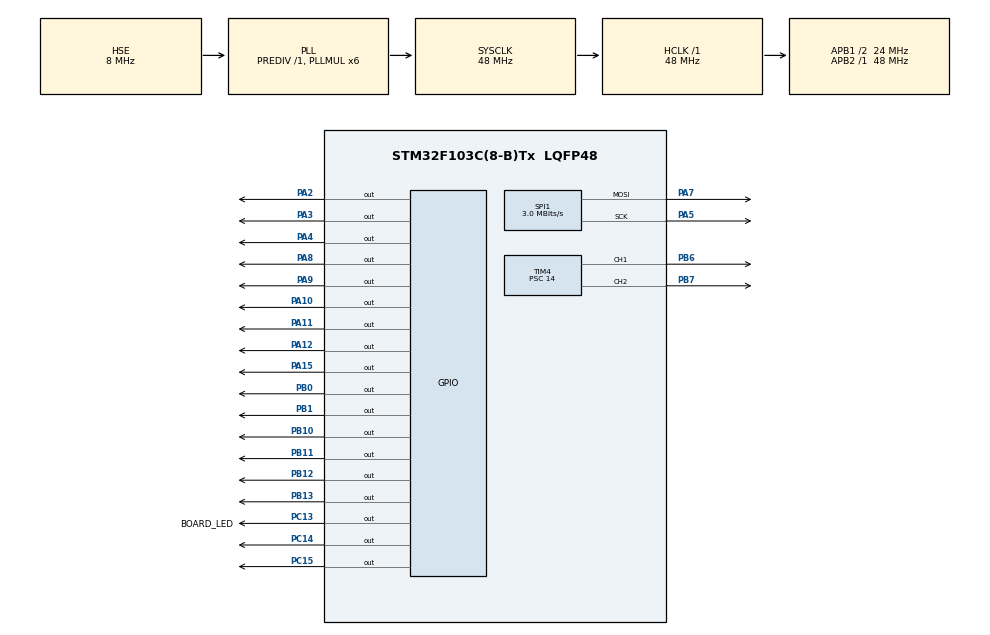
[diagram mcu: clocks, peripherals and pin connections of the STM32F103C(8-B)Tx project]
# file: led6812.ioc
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Dma.Request0=SPI1_TX
Dma.SPI1_TX.0.Direction=DMA_MEMORY_TO_PERIPH
Dma.SPI1_TX.0.Instance=DMA1_Channel3
Dma.SPI1_TX.0.MemDataAlignment=DMA_MDATAALIGN_BYTE
Dma.SPI1_TX.0.MemInc=DMA_MINC_ENABLE
Dma.SPI1_TX.0.Mode=DMA_NORMAL
Dma.SPI1_TX.0.PeriphDataAlignment=DMA_PDATAALIGN_BYTE
Dma.SPI1_TX.0.PeriphInc=DMA_PINC_DISABLE
Dma.SPI1_TX.0.Priority=DMA_PRIORITY_HIGH
FREERTOS.INCLUDE_uxTaskPriorityGet=0
FREERTOS.INCLUDE_vTaskDelayUntil=1
FREERTOS.INCLUDE_vTaskDelete=0
FREERTOS.INCLUDE_vTaskPrioritySet=0
FREERTOS.INCLUDE_vTaskSuspend=1
FREERTOS.MEMORY_ALLOCATION=1
FREERTOS.Tasks01=mainTask,3,256,StartMainTask,As weak,NULL,Static,defaultTaskBuffer,defaultTaskControlBlock;ctrlTask,3,128,StartCtrlTask,As external,NULL,Static,myTask02Buffer,myTask02ControlBlock
FREERTOS.configCHECK_FOR_STACK_OVERFLOW=0
FREERTOS.configENABLE_BACKWARD_COMPATIBILITY=0
FREERTOS.configGENERATE_RUN_TIME_STATS=1
FREERTOS.configIDLE_SHOULD_YIELD=0
FREERTOS.configMINIMAL_STACK_SIZE=128
FREERTOS.configRECORD_STACK_HIGH_ADDRESS=1
FREERTOS.configUSE_MUTEXES=0
FREERTOS.configUSE_NEWLIB_REENTRANT=1
FREERTOS.configUSE_PREEMPTION=1
FREERTOS.configUSE_STATS_FORMATTING_FUNCTIONS=1
FREERTOS.configUSE_TIMERS=0
FREERTOS.configUSE_TRACE_FACILITY=1
FREERTOS.copyHeapFile=0
Mcu.Family=STM32F1
Mcu.Name=STM32F103C(8-B)Tx
Mcu.Package=LQFP48
NVIC.DMA1_Channel3_IRQn=true\:5\:0\:false\:false\:true\:true\:false\:true\:true
NVIC.PriorityGroup=NVIC_PRIORITYGROUP_4
NVIC.TIM1_UP_IRQn=true\:15\:0\:false\:false\:true\:false\:false\:true\:true
NVIC.TimeBase=TIM1_UP_IRQn
NVIC.TimeBaseIP=TIM1
PA10.Signal=GPIO_Output
PA11.Signal=GPIO_Output
PA12.Signal=GPIO_Output
PA13.Mode=Trace_Asynchronous_SW
PA13.Signal=SYS_JTMS-SWDIO
PA14.Mode=Trace_Asynchronous_SW
PA14.Signal=SYS_JTCK-SWCLK
PA15.Signal=GPIO_Output
PA2.Signal=GPIO_Output
PA3.Signal=GPIO_Output
PA4.Signal=GPIO_Output
PA5.Mode=TX_Only_Simplex_Unidirect_Master
PA5.Signal=SPI1_SCK
PA7.Mode=TX_Only_Simplex_Unidirect_Master
PA7.Signal=SPI1_MOSI
PA8.Signal=GPIO_Output
PA9.Signal=GPIO_Output
PB0.Signal=GPIO_Output
PB1.Signal=GPIO_Output
PB10.Signal=GPIO_Output
PB11.Signal=GPIO_Output
PB12.Signal=GPIO_Output
PB13.Signal=GPIO_Output
PB3.Mode=Trace_Asynchronous_SW
PB3.Signal=SYS_JTDO-TRACESWO
PB6.Signal=S_TIM4_CH1
PB7.Signal=S_TIM4_CH2
PC13-TAMPER-RTC.GPIO_Label=BOARD_LED
PC13-TAMPER-RTC.Signal=GPIO_Output
PC14-OSC32_IN.Signal=GPIO_Output
PC15-OSC32_OUT.Signal=GPIO_Output
PD0-OSC_IN.Mode=HSE-External-Oscillator
PD0-OSC_IN.Signal=RCC_OSC_IN
PD1-OSC_OUT.Mode=HSE-External-Oscillator
PD1-OSC_OUT.Signal=RCC_OSC_OUT
ProjectManager.HeapSize=0x200
ProjectManager.StackSize=0x400
ProjectManager.TargetToolchain=STM32CubeIDE
RCC.AHBFreq_Value=48000000
RCC.APB1CLKDivider=RCC_HCLK_DIV2
RCC.APB1Freq_Value=24000000
RCC.APB1TimFreq_Value=48000000
RCC.APB2Freq_Value=48000000
RCC.APB2TimFreq_Value=48000000
RCC.HCLKFreq_Value=48000000
RCC.PLLMUL=RCC_PLL_MUL6
RCC.PLLSourceVirtual=RCC_PLLSOURCE_HSE
RCC.SYSCLKFreq_VALUE=48000000
RCC.SYSCLKSource=RCC_SYSCLKSOURCE_PLLCLK
RCC.USBFreq_Value=48000000
SH.S_TIM4_CH1.0=TIM4_CH1,PWM Generation1 CH1
SH.S_TIM4_CH2.0=TIM4_CH2,PWM Generation2 CH2
SPI1.BaudRatePrescaler=SPI_BAUDRATEPRESCALER_16
SPI1.CalculateBaudRate=3.0 MBits/s
SPI1.Direction=SPI_DIRECTION_2LINES
SPI1.Mode=SPI_MODE_MASTER
SPI1.VirtualType=VM_MASTER
TIM2.Channel-PWM\ Generation1\ No\ Output=TIM_CHANNEL_1
TIM3.Channel-PWM\ Generation1\ No\ Output=TIM_CHANNEL_1
TIM4.AutoReloadPreload=TIM_AUTORELOAD_PRELOAD_ENABLE
TIM4.Channel-PWM\ Generation1\ CH1=TIM_CHANNEL_1
TIM4.Channel-PWM\ Generation2\ CH2=TIM_CHANNEL_2
TIM4.Period=64000
TIM4.Prescaler=14
TIM4.Pulse-PWM\ Generation1\ CH1=5000
TIM4.Pulse-PWM\ Generation2\ CH2=5000
VP_FREERTOS_VS_CMSIS_V1.Mode=CMSIS_V1
VP_SYS_VS_tim1.Mode=TIM1
VP_TIM2_VS_no_output1.Mode=PWM Generation1 No Output
VP_TIM3_VS_no_output1.Mode=PWM Generation1 No Output
board=custom

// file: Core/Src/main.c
/* USER CODE BEGIN Header */
/**
  ******************************************************************************
  * @file           : main.c
  * @brief          : Main program body
  ******************************************************************************
  * @attention
  *
  * Copyright (c) 2023 STMicroelectronics.
  * All rights reserved.
  *
  * This software is licensed under terms that can be found in the LICENSE file
  * in the root directory of this software component.
  * If no LICENSE file comes with this software, it is provided AS-IS.
  *
  ******************************************************************************
  */
/* USER CODE END Header */
#include "main.h"
#include "cmsis_os.h"

/* USER CODE BEGIN Includes */
#include "../../Led/ledtask.h"
/* USER CODE END Includes */

SPI_HandleTypeDef hspi1;
DMA_HandleTypeDef hdma_spi1_tx;

TIM_HandleTypeDef htim2;
TIM_HandleTypeDef htim3;
TIM_HandleTypeDef htim4;

osThreadId mainTaskHandle;
uint32_t defaultTaskBuffer[ 256 ];
osStaticThreadDef_t defaultTaskControlBlock;
osThreadId ctrlTaskHandle;
uint32_t myTask02Buffer[ 128 ];
osStaticThreadDef_t myTask02ControlBlock;

void SystemClock_Config(void);
static void MX_GPIO_Init(void);
static void MX_DMA_Init(void);
static void MX_TIM4_Init(void);
static void MX_TIM2_Init(void);
static void MX_TIM3_Init(void);
static void MX_SPI1_Init(void);
void StartMainTask(void const * argument);
extern void StartCtrlTask(void const * argument);

int main(void)
{

  /* MCU Configuration--------------------------------------------------------*/

  /* Reset of all peripherals, Initializes the Flash interface and the Systick. */
  HAL_Init();

  /* Configure the system clock */
  SystemClock_Config();

  /* Initialize all configured peripherals */
  MX_GPIO_Init();
  MX_DMA_Init();
  MX_TIM4_Init();
  MX_TIM2_Init();
  MX_TIM3_Init();
  MX_SPI1_Init();

  /* Create the thread(s) */
  /* definition and creation of mainTask */
  osThreadStaticDef(mainTask, StartMainTask, osPriorityRealtime, 0, 256, defaultTaskBuffer, &defaultTaskControlBlock);
  mainTaskHandle = osThreadCreate(osThread(mainTask), NULL);

  /* definition and creation of ctrlTask */
  osThreadStaticDef(ctrlTask, StartCtrlTask, osPriorityRealtime, 0, 128, myTask02Buffer, &myTask02ControlBlock);
  ctrlTaskHandle = osThreadCreate(osThread(ctrlTask), NULL);

  /* Start scheduler */
  osKernelStart();

  /* We should never get here as control is now taken by the scheduler */
  /* Infinite loop */
  while (1)
  {

  }
}

void SystemClock_Config(void)
{
  RCC_OscInitTypeDef RCC_OscInitStruct = {0};
  RCC_ClkInitTypeDef RCC_ClkInitStruct = {0};

  /** Initializes the RCC Oscillators according to the specified parameters
  * in the RCC_OscInitTypeDef structure.
  */
  RCC_OscInitStruct.OscillatorType = RCC_OSCILLATORTYPE_HSE;
  RCC_OscInitStruct.HSEState = RCC_HSE_ON;
  RCC_OscInitStruct.HSEPredivValue = RCC_HSE_PREDIV_DIV1;
  RCC_OscInitStruct.HSIState = RCC_HSI_ON;
  RCC_OscInitStruct.PLL.PLLState = RCC_PLL_ON;
  RCC_OscInitStruct.PLL.PLLSource = RCC_PLLSOURCE_HSE;
  RCC_OscInitStruct.PLL.PLLMUL = RCC_PLL_MUL6;
  if (HAL_RCC_OscConfig(&RCC_OscInitStruct) != HAL_OK)
  {
    Error_Handler();
  }

  /** Initializes the CPU, AHB and APB buses clocks
  */
  RCC_ClkInitStruct.ClockType = RCC_CLOCKTYPE_HCLK|RCC_CLOCKTYPE_SYSCLK
                              |RCC_CLOCKTYPE_PCLK1|RCC_CLOCKTYPE_PCLK2;
  RCC_ClkInitStruct.SYSCLKSource = RCC_SYSCLKSOURCE_PLLCLK;
  RCC_ClkInitStruct.AHBCLKDivider = RCC_SYSCLK_DIV1;
  RCC_ClkInitStruct.APB1CLKDivider = RCC_HCLK_DIV2;
  RCC_ClkInitStruct.APB2CLKDivider = RCC_HCLK_DIV1;

  if (HAL_RCC_ClockConfig(&RCC_ClkInitStruct, FLASH_LATENCY_1) != HAL_OK)
  {
    Error_Handler();
  }
}

static void MX_SPI1_Init(void)
{

  /* SPI1 parameter configuration*/
  hspi1.Instance = SPI1;
  hspi1.Init.Mode = SPI_MODE_MASTER;
  hspi1.Init.Direction = SPI_DIRECTION_2LINES;
  hspi1.Init.DataSize = SPI_DATASIZE_8BIT;
  hspi1.Init.CLKPolarity = SPI_POLARITY_LOW;
  hspi1.Init.CLKPhase = SPI_PHASE_1EDGE;
  hspi1.Init.NSS = SPI_NSS_SOFT;
  hspi1.Init.BaudRatePrescaler = SPI_BAUDRATEPRESCALER_16;
  hspi1.Init.FirstBit = SPI_FIRSTBIT_MSB;
  hspi1.Init.TIMode = SPI_TIMODE_DISABLE;
  hspi1.Init.CRCCalculation = SPI_CRCCALCULATION_DISABLE;
  hspi1.Init.CRCPolynomial = 10;
  if (HAL_SPI_Init(&hspi1) != HAL_OK)
  {
    Error_Handler();
  }

}

static void MX_TIM2_Init(void)
{

  TIM_MasterConfigTypeDef sMasterConfig = {0};
  TIM_OC_InitTypeDef sConfigOC = {0};

  htim2.Instance = TIM2;
  htim2.Init.Prescaler = 0;
  htim2.Init.CounterMode = TIM_COUNTERMODE_UP;
  htim2.Init.Period = 65535;
  htim2.Init.ClockDivision = TIM_CLOCKDIVISION_DIV1;
  htim2.Init.AutoReloadPreload = TIM_AUTORELOAD_PRELOAD_DISABLE;
  if (HAL_TIM_PWM_Init(&htim2) != HAL_OK)
  {
    Error_Handler();
  }
  sMasterConfig.MasterOutputTrigger = TIM_TRGO_RESET;
  sMasterConfig.MasterSlaveMode = TIM_MASTERSLAVEMODE_DISABLE;
  if (HAL_TIMEx_MasterConfigSynchronization(&htim2, &sMasterConfig) != HAL_OK)
  {
    Error_Handler();
  }
  sConfigOC.OCMode = TIM_OCMODE_PWM1;
  sConfigOC.Pulse = 0;
  sConfigOC.OCPolarity = TIM_OCPOLARITY_HIGH;
  sConfigOC.OCFastMode = TIM_OCFAST_DISABLE;
  if (HAL_TIM_PWM_ConfigChannel(&htim2, &sConfigOC, TIM_CHANNEL_1) != HAL_OK)
  {
    Error_Handler();
  }

}

static void MX_TIM3_Init(void)
{

  TIM_MasterConfigTypeDef sMasterConfig = {0};
  TIM_OC_InitTypeDef sConfigOC = {0};

  htim3.Instance = TIM3;
  htim3.Init.Prescaler = 0;
  htim3.Init.CounterMode = TIM_COUNTERMODE_UP;
  htim3.Init.Period = 65535;
  htim3.Init.ClockDivision = TIM_CLOCKDIVISION_DIV1;
  htim3.Init.AutoReloadPreload = TIM_AUTORELOAD_PRELOAD_DISABLE;
  if (HAL_TIM_PWM_Init(&htim3) != HAL_OK)
  {
    Error_Handler();
  }
  sMasterConfig.MasterOutputTrigger = TIM_TRGO_RESET;
  sMasterConfig.MasterSlaveMode = TIM_MASTERSLAVEMODE_DISABLE;
  if (HAL_TIMEx_MasterConfigSynchronization(&htim3, &sMasterConfig) != HAL_OK)
  {
    Error_Handler();
  }
  sConfigOC.OCMode = TIM_OCMODE_PWM1;
  sConfigOC.Pulse = 0;
  sConfigOC.OCPolarity = TIM_OCPOLARITY_HIGH;
  sConfigOC.OCFastMode = TIM_OCFAST_DISABLE;
  if (HAL_TIM_PWM_ConfigChannel(&htim3, &sConfigOC, TIM_CHANNEL_1) != HAL_OK)
  {
    Error_Handler();
  }

}

static void MX_TIM4_Init(void)
{

  TIM_MasterConfigTypeDef sMasterConfig = {0};
  TIM_OC_InitTypeDef sConfigOC = {0};

  htim4.Instance = TIM4;
  htim4.Init.Prescaler = 14;
  htim4.Init.CounterMode = TIM_COUNTERMODE_UP;
  htim4.Init.Period = 64000;
  htim4.Init.ClockDivision = TIM_CLOCKDIVISION_DIV1;
  htim4.Init.AutoReloadPreload = TIM_AUTORELOAD_PRELOAD_ENABLE;
  if (HAL_TIM_PWM_Init(&htim4) != HAL_OK)
  {
    Error_Handler();
  }
  sMasterConfig.MasterOutputTrigger = TIM_TRGO_RESET;
  sMasterConfig.MasterSlaveMode = TIM_MASTERSLAVEMODE_DISABLE;
  if (HAL_TIMEx_MasterConfigSynchronization(&htim4, &sMasterConfig) != HAL_OK)
  {
    Error_Handler();
  }
  sConfigOC.OCMode = TIM_OCMODE_PWM1;
  sConfigOC.Pulse = 5000;
  sConfigOC.OCPolarity = TIM_OCPOLARITY_HIGH;
  sConfigOC.OCFastMode = TIM_OCFAST_DISABLE;
  if (HAL_TIM_PWM_ConfigChannel(&htim4, &sConfigOC, TIM_CHANNEL_1) != HAL_OK)
  {
    Error_Handler();
  }
  if (HAL_TIM_PWM_ConfigChannel(&htim4, &sConfigOC, TIM_CHANNEL_2) != HAL_OK)
  {
    Error_Handler();
  }
  HAL_TIM_MspPostInit(&htim4);

}

static void MX_DMA_Init(void)
{

  /* DMA controller clock enable */
  __HAL_RCC_DMA1_CLK_ENABLE();

  /* DMA interrupt init */
  /* DMA1_Channel3_IRQn interrupt configuration */
  HAL_NVIC_SetPriority(DMA1_Channel3_IRQn, 5, 0);
  HAL_NVIC_EnableIRQ(DMA1_Channel3_IRQn);

}

static void MX_GPIO_Init(void)
{
  GPIO_InitTypeDef GPIO_InitStruct = {0};

  /* GPIO Ports Clock Enable */
  __HAL_RCC_GPIOC_CLK_ENABLE();
  __HAL_RCC_GPIOD_CLK_ENABLE();
  __HAL_RCC_GPIOA_CLK_ENABLE();
  __HAL_RCC_GPIOB_CLK_ENABLE();

  /*Configure GPIO pin Output Level */
  HAL_GPIO_WritePin(GPIOC, BOARD_LED_Pin|GPIO_PIN_14|GPIO_PIN_15, GPIO_PIN_RESET);

  /*Configure GPIO pin Output Level */
  HAL_GPIO_WritePin(GPIOA, GPIO_PIN_2|GPIO_PIN_3|GPIO_PIN_4|GPIO_PIN_8
                          |GPIO_PIN_9|GPIO_PIN_10|GPIO_PIN_11|GPIO_PIN_12
                          |GPIO_PIN_15, GPIO_PIN_RESET);

  /*Configure GPIO pin Output Level */
  HAL_GPIO_WritePin(GPIOB, GPIO_PIN_0|GPIO_PIN_1|GPIO_PIN_10|GPIO_PIN_11
                          |GPIO_PIN_12|GPIO_PIN_13, GPIO_PIN_RESET);

  /*Configure GPIO pins : BOARD_LED_Pin PC14 PC15 */
  GPIO_InitStruct.Pin = BOARD_LED_Pin|GPIO_PIN_14|GPIO_PIN_15;
  GPIO_InitStruct.Mode = GPIO_MODE_OUTPUT_PP;
  GPIO_InitStruct.Pull = GPIO_NOPULL;
  GPIO_InitStruct.Speed = GPIO_SPEED_FREQ_LOW;
  HAL_GPIO_Init(GPIOC, &GPIO_InitStruct);

  /*Configure GPIO pins : PA2 PA3 PA4 PA8
                           PA9 PA10 PA11 PA12
                           PA15 */
  GPIO_InitStruct.Pin = GPIO_PIN_2|GPIO_PIN_3|GPIO_PIN_4|GPIO_PIN_8
                          |GPIO_PIN_9|GPIO_PIN_10|GPIO_PIN_11|GPIO_PIN_12
                          |GPIO_PIN_15;
  GPIO_InitStruct.Mode = GPIO_MODE_OUTPUT_PP;
  GPIO_InitStruct.Pull = GPIO_NOPULL;
  GPIO_InitStruct.Speed = GPIO_SPEED_FREQ_LOW;
  HAL_GPIO_Init(GPIOA, &GPIO_InitStruct);

  /*Configure GPIO pins : PB0 PB1 PB10 PB11
                           PB12 PB13 */
  GPIO_InitStruct.Pin = GPIO_PIN_0|GPIO_PIN_1|GPIO_PIN_10|GPIO_PIN_11
                          |GPIO_PIN_12|GPIO_PIN_13;
  GPIO_InitStruct.Mode = GPIO_MODE_OUTPUT_PP;
  GPIO_InitStruct.Pull = GPIO_NOPULL;
  GPIO_InitStruct.Speed = GPIO_SPEED_FREQ_LOW;
  HAL_GPIO_Init(GPIOB, &GPIO_InitStruct);

}

__weak void StartMainTask(void const * argument)
{
  for(;;)
  {
    osDelay(1);
  }
}

void HAL_TIM_PeriodElapsedCallback(TIM_HandleTypeDef *htim)
{
  if (htim->Instance == TIM1) {
    HAL_IncTick();
  }
  /* USER CODE BEGIN Callback 1 */
  if (htim->Instance == TIM1) {
	  static int t = 0;
	  static int nwake=0;
	  t++;
	  if ((0==(t%10)) && mainTaskHandle && ledReady) {
		  BaseType_t higher1=0;
		  BaseType_t higher2=0;
		  nwake++;
		  if (mainTaskHandle) {
			  xTaskNotifyFromISR(mainTaskHandle, NOTIF_TICK, eSetBits, &higher1);
		  }
		  if (ctrlTaskHandle) {
			  xTaskNotifyFromISR(ctrlTaskHandle, NOTIF_TICK, eSetBits, &higher2);
		  }
		  if (higher1 || higher2) {
				portYIELD_FROM_ISR(pdTRUE);
		  }
	  }
  }
  /* USER CODE END Callback 1 */
}

void Error_Handler(void)
{
  __disable_irq();
  while (1)
  {
  }
}
